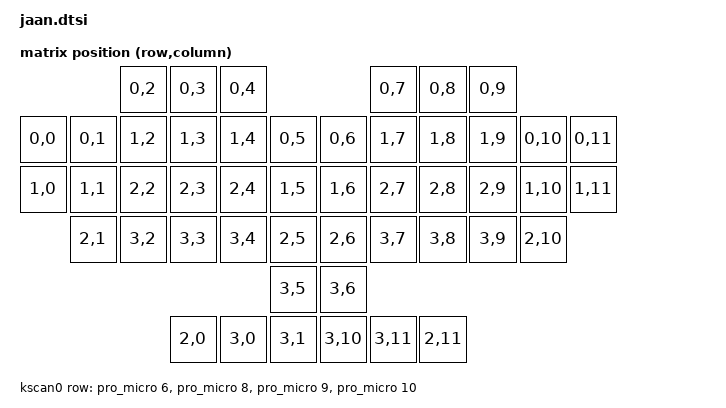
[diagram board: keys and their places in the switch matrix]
/*
 * Copyright (c) 2022 The ZMK Contributors
 *
 * SPDX-License-Identifier: MIT
 */

 #include <dt-bindings/zmk/matrix_transform.h>
 /* #include "jaan-layouts.dtsi" */

 / {
     chosen {
         zmk,kscan = &kscan0;
         zmk,matrix-transform = &default_transform;
          /* zephyr,display = &oled; */
         /* zephyr,display = &ssd1306_ssd1306_128x64_spi; */
     };

     default_transform: keymap_transform_0 {
         compatible = "zmk,matrix-transform";
         columns = <12>;
         rows = <4>;
 //                     |  SW03   |  SW04   |   SW05   |                      |  SW05   |  SW04   |  SW03   |
 //                     --------------------------------                      -------------------------------
 //   |  SW01  |  SW02  |  SW09   |  SW10   |   SW11   |  SW06  |    |  SW06  |  SW11   |  SW10   |  SW09   |   SW02   |  SW01  |
 //   |  SW07  |  SW08  |  SW15   |  SW16   |   SW17   |  SW12  |    |  SW12  |  SW17   |  SW16   |  SW15   |   SW08   |  SW07  |
 //            |  SW14  |  SW21   |  SW22   |   SW23   |  SW18  |    |  SW18  |  SW23   |  SW22   |  SW21   |   SW14   |
 //                                                    ----------    ----------
 //                                                    |  SW24  |    |  SW24  |
 //                               |  SW13   |   SW19   |  SW20  |    |  SW20  |  SW19   |  SW13   |
         map = <
                          RC(0,2)   RC(0,3)   RC(0,4)                           RC(0,7)   RC(0,8)   RC(0,9)
      RC(0,0)   RC(0,1)   RC(1,2)   RC(1,3)   RC(1,4)   RC(0,5)       RC(0,6)   RC(1,7)   RC(1,8)   RC(1,9)   RC(0,10)   RC(0,11)
      RC(1,0)   RC(1,1)   RC(2,2)   RC(2,3)   RC(2,4)   RC(1,5)       RC(1,6)   RC(2,7)   RC(2,8)   RC(2,9)   RC(1,10)   RC(1,11)
                RC(2,1)   RC(3,2)   RC(3,3)   RC(3,4)   RC(2,5)       RC(2,6)   RC(3,7)   RC(3,8)   RC(3,9)   RC(2,10)
                                                        RC(3,5)       RC(3,6)
                                    RC(2,0)   RC(3,0)   RC(3,1)       RC(3,10)  RC(3,11)  RC(2,11)
         >;
     };

     kscan0: kscan {
         compatible = "zmk,kscan-gpio-matrix";

         diode-direction = "col2row";
         row-gpios
             = <&pro_micro  6 (GPIO_ACTIVE_HIGH | GPIO_PULL_DOWN)>
             , <&pro_micro  8 (GPIO_ACTIVE_HIGH | GPIO_PULL_DOWN)>
             , <&pro_micro  9 (GPIO_ACTIVE_HIGH | GPIO_PULL_DOWN)>
             , <&pro_micro 10 (GPIO_ACTIVE_HIGH | GPIO_PULL_DOWN)>
             ;

     };
 };

&pinctrl {
    spi0_default: spi0_default {
        group1 {
            psels = <NRF_PSEL(SPIM_SCK, 0, 20)>,
                <NRF_PSEL(SPIM_MOSI, 0, 17)>,
                <NRF_PSEL(SPIM_MISO, 0, 25)>;
        };
    };
    spi0_sleep: spi0_sleep {
        group1 {
            psels = <NRF_PSEL(SPIM_SCK, 0, 20)>,
                <NRF_PSEL(SPIM_MOSI, 0, 17)>,
                <NRF_PSEL(SPIM_MISO, 0, 25)>;
            low-power-enable;
        };
    };
};

nice_view_spi: &spi0 {
    compatible = "nordic,nrf-spim";
    status = "okay";
    pinctrl-0 = <&spi0_default>;
    pinctrl-1 = <&spi0_sleep>;
    pinctrl-names = "default", "sleep";
    cs-gpios = <&pro_micro 4 GPIO_ACTIVE_HIGH>;
};

&pro_micro_i2c {
    status = "disabled";
};

 /* &pro_micro_i2c { */
 /*     status = "okay"; */

 /*     oled: ssd1306@3c { */
 /*         compatible = "solomon,ssd1306fb"; */
 /*         reg = <0x3c>; */
 /*         width = <128>; */
 /*         height = <32>; */
 /*         segment-offset = <0>; */
 /*         page-offset = <0>; */
 /*         display-offset = <0>; */
 /*         multiplex-ratio = <31>; */
 /*         segment-remap; */
 /*         com-invdir; */
 /*         com-sequential; */
 /*         inversion-on; */
 /*         prechargep = <0x22>; */
 /*     }; */
 /* }; */


         // map = <
 // RC(0,0) RC(0,1) RC(0,2) RC(0,3) RC(0,4) RC(0,5)  RC(0,6) RC(0,7) RC(0,8) RC(0,9) RC(0,10) RC(0,11)
 // RC(1,0) RC(1,1) RC(1,2) RC(1,3) RC(1,4) RC(1,5)  RC(1,6) RC(1,7) RC(1,8) RC(1,9) RC(1,10) RC(1,11)
 // RC(2,0) RC(2,1) RC(2,2) RC(2,3) RC(2,4) RC(2,5)  RC(2,6) RC(2,7) RC(2,8) RC(2,9) RC(2,10) RC(2,11)
         //                 RC(3,3) RC(3,4) RC(3,5)  RC(3,6) RC(3,7) RC(3,8)
         // >;
